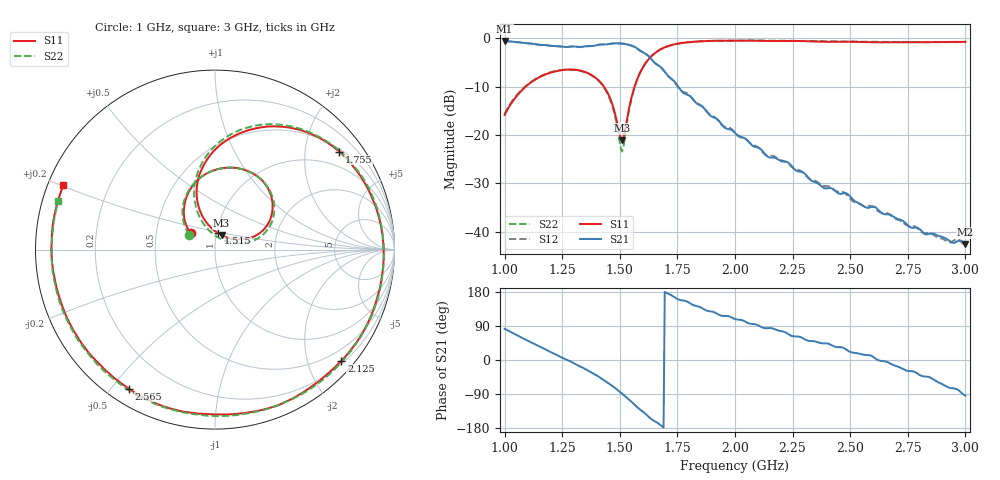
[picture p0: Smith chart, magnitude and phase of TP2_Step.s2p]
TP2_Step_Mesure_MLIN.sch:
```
<Qucs Schematic 0.0.19>
<Properties>
  <View=0,0,1235,800,1,0,0>
  <Grid=10,10,1>
  <DataSet=TP2_Step_Mesure_MLIN.dat>
  <DataDisplay=TP2_Step_Mesure_MLIN.dpl>
  <OpenDisplay=1>
  <Script=TP2_Step_Mesure_MLIN.m>
  <RunScript=0>
  <showFrame=0>
  <FrameText0=Titre>
  <FrameText1=Auteur :>
  <FrameText2=Date :>
  <FrameText3=Version :>
</Properties>
<Symbol>
</Symbol>
<Components>
  <GND * 1 980 600 0 0 0 0>
  <Pac P2 1 1090 570 -26 18 1 2 "2" 1 "50 Ohm" 1 "0 dBm" 0 "1 GHz" 0 "26.85" 0>
  <GND * 1 1120 570 0 0 0 1>
  <Pac P1 1 870 570 -26 18 0 0 "1" 1 "50 Ohm" 1 "0 dBm" 0 "1 GHz" 0 "26.85" 0>
  <GND * 1 840 570 0 0 0 3>
  <SPfile X1 1 980 570 -26 -67 0 0 "TP2_Step.s2p" 1 "rectangular" 0 "linear" 0 "open" 0 "2" 0>
  <Eqn Eqn1 1 620 520 -31 19 0 0 "S11=S[1,1]" 1 "S21=S[2,1]" 1 "dBS11=dB(S11)" 1 "dBS21=dB(S21)" 1 "yes" 0>
  <.SP SP1 1 300 480 0 83 0 0 "log" 1 "100 MHz" 1 "3 GHz" 1 "800" 1 "no" 0 "1" 0 "2" 0 "no" 0 "no" 0>
</Components>
<Wires>
  <1010 570 1060 570 "" 0 0 0 "">
  <900 570 950 570 "" 0 0 0 "">
</Wires>
<Diagrams>
</Diagrams>
<Paintings>
</Paintings>
```
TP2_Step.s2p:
! ZVRE, 3.52
! symbol freq-unit parameter-type data-format keyword impedance-ohm
#  HZ  S  RI  R  50
! freq  reS11  imS11  reS21  imS21  reS12  imS12  reS22  imS22
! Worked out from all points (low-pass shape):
!   401 points, 1 GHz to 3 GHz, reference 50 ohm
!   highest |S21| = -0.58 dB at 1 GHz (marker M1); lowest = -42.6 dB at 3 GHz (marker M2)
!   |S21| within 3 dB of the highest: start of sweep to 1.623 GHz
!   lowest |S11| = -21.1 dB at 1.51 GHz (marker M3), VSWR 1.19, Z = 53.1 + j8.56 ohm
!   |S11| at or under -10 dB: start of sweep to 1.092 GHz; 1.431 GHz to 1.564 GHz (133.5 MHz wide, 8.91 % of centre)
!   |S22| runs from -23.4 to -0.5 dB; largest |S21 - S12| = 0.013
!   S11 on the Smith chart (normalised r, x): 1 GHz: 0.75, +0.14; 1.515 GHz: 1.02, +0.19; 1.755 GHz: 0.57, +2.79; 2.125 GHz: 0.26, -2.63; 2.565 GHz: 0.06, -0.56; 3 GHz: 0.04, +0.20
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1e9  -0.1334 0.0903  0.1238 0.9267  0.1241 0.9252  -0.1422 0.0835
1.29e9  0.2007 0.4298  0.8173 -0.075  0.8157 -0.0741  0.2117 0.4231
1.43e9  0.289 0.1335  0.5192 -0.6876  0.5241 -0.687  0.2929 0.1118
1.51e9  0.0367 0.0799  0.0196 -0.8794  0.0196 -0.8799  0.0288 0.0611
1.515e9  0.0174 0.0908  -0.0207 -0.8769  -0.0197 -0.8773  0.00893 0.0727
1.595e9  -0.0629 0.4702  -0.5047 -0.5225  -0.4974 -0.5273  -0.0793 0.469
1.755e9  0.6936 0.5456  -0.2929 0.109  -0.291 0.098  0.673 0.5668
2e9  0.8942 -0.3013  -0.0326 0.1  -0.0324 0.101  0.9181 -0.2294
2.125e9  0.7038 -0.6196  0.00623 0.0655  0.00464 0.0641  0.7639 -0.5553
2.565e9  -0.4798 -0.7744  0.0175 0.0042  0.0176 0.00464  -0.3782 -0.8391
3e9  -0.8453 0.3572  -0.000489 -0.00742  -0.000394 -0.00709  -0.8728 0.2697
